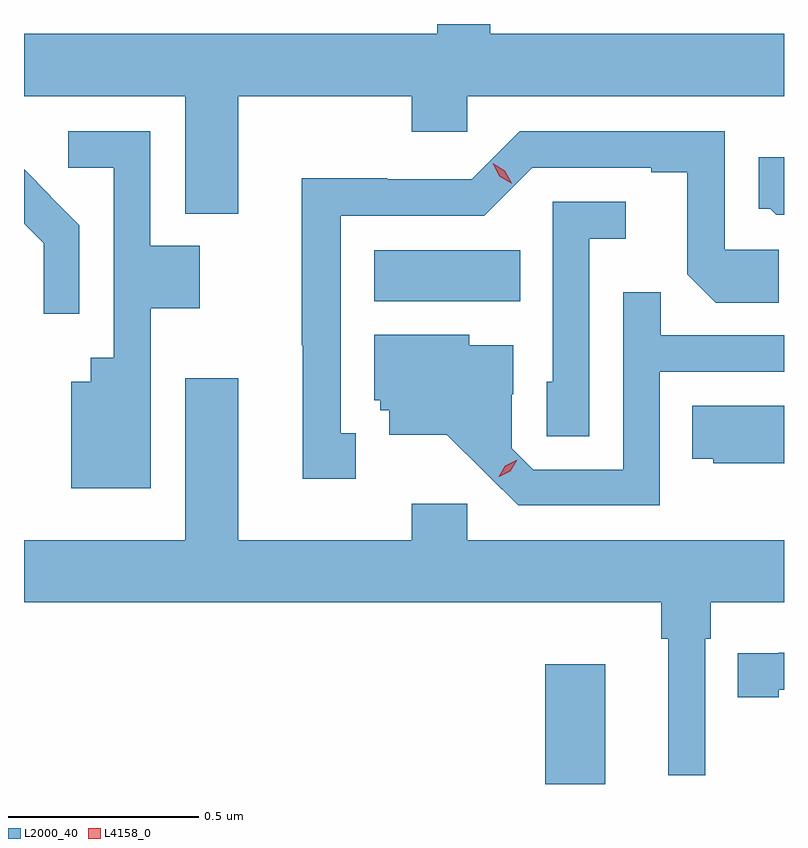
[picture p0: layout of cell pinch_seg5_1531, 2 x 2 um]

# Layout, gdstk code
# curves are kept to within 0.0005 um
import gdstk
lib = gdstk.Library(unit=1e-6, precision=1e-09)
def R(c, l, rs):  # rectangles x0, y0, x1, y1
    for r in rs: c.add(gdstk.rectangle(r[:2], r[2:], *l))
def P(c, l, *ps):  # polygons
    for p in ps: c.add(gdstk.Polygon(p, *l))
L2000_40 = (2000, 40)
L4158_0 = (4158, 0)

pinch_seg5_1531 = lib.new_cell('pinch_seg5_1531')
R(pinch_seg5_1531, L2000_40, [(137.822,881.59,137.98,881.905), (137.372,882.86,137.756,882.994)])
P(pinch_seg5_1531, L2000_40, [(137.538,883.59),(137.538,883.564),(136.45,883.564),(136.45,883.4),(136.874,883.4),(136.874,883.091),(137.014,883.091),(137.014,883.4),(137.47,883.4),(137.47,883.307),(137.616,883.307),(137.616,883.4),(138.45,883.4),(138.45,883.564),(137.677,883.564),(137.677,883.59)],
  [(136.783,882.842),(136.912,882.842),(136.912,883.006),(136.782,883.006),(136.782,883.308),(136.566,883.308),(136.566,883.212),(136.686,883.212),(136.686,882.712),(136.625,882.712),(136.625,882.649),(136.574,882.649),(136.574,882.368),(136.783,882.368)],
  [(137.323,882.513),(137.284,882.513),(137.284,883.086),(137.661,883.086),(137.787,883.212),(138.101,883.212),(138.101,883.2),(138.195,883.2),(138.195,882.932),(138.271,882.856),(138.436,882.856),(138.436,882.996),(138.294,882.996),(138.294,883.308),(137.754,883.308),(137.628,883.182),(137.406,883.182),(137.406,883.184),(137.181,883.184),(137.181,882.745),(137.183,882.745),(137.183,882.393),(137.323,882.393)],
  [(138.45,883.24),(138.383,883.24),(138.383,883.104),(138.414,883.104),(138.43,883.088),(138.45,883.088)],
  [(136.596,883.06),(136.52,883.136),(136.521,883.137),(136.45,883.208),(136.45,883.065),(136.502,883.013),(136.502,882.828),(136.596,882.828)],
  [(137.937,883.025),(138.034,883.025),(138.034,883.122),(137.841,883.122),(137.841,882.648),(137.826,882.648),(137.826,882.505),(137.937,882.505)],
  [(138.123,882.675),(138.45,882.675),(138.45,882.771),(138.125,882.771),(138.125,882.884),(138.027,882.884),(138.027,882.417),(137.79,882.417),(137.733,882.474),(137.733,882.616),(137.737,882.616),(137.737,882.745),(137.622,882.745),(137.622,882.772),(137.372,882.772),(137.372,882.6),(137.388,882.6),(137.388,882.573),(137.411,882.573),(137.411,882.509),(137.563,882.509),(137.75,882.324),(138.123,882.324)],
  [(138.243,881.972),(138.257,881.972),(138.257,882.068),(138.45,882.068),(138.45,882.232),(137.616,882.232),(137.616,882.328),(137.47,882.328),(137.47,882.232),(137.014,882.232),(137.014,882.658),(136.874,882.658),(136.874,882.232),(136.45,882.232),(136.45,882.068),(138.127,882.068),(138.127,881.972),(138.146,881.972),(138.146,881.613),(138.243,881.613)],
  [(138.45,882.586),(138.208,882.586),(138.208,882.446),(138.264,882.446),(138.264,882.434),(138.45,882.434)],
  [(138.436,881.838),(138.45,881.838),(138.45,881.935),(138.436,881.935),(138.436,881.934),(138.328,881.934),(138.328,881.818),(138.436,881.818)])
P(pinch_seg5_1531, L4158_0, [(137.732,883.171),(137.701,883.19),(137.684,883.223),(137.684,883.223),(137.684,883.223),(137.715,883.204),(137.733,883.171),(137.733,883.171)],
  [(137.699,882.398),(137.699,882.398),(137.717,882.428),(137.748,882.443),(137.748,882.443),(137.748,882.443),(137.73,882.413),(137.7,882.398)])

lib.write_gds('pinch_seg5_1531.gds')
